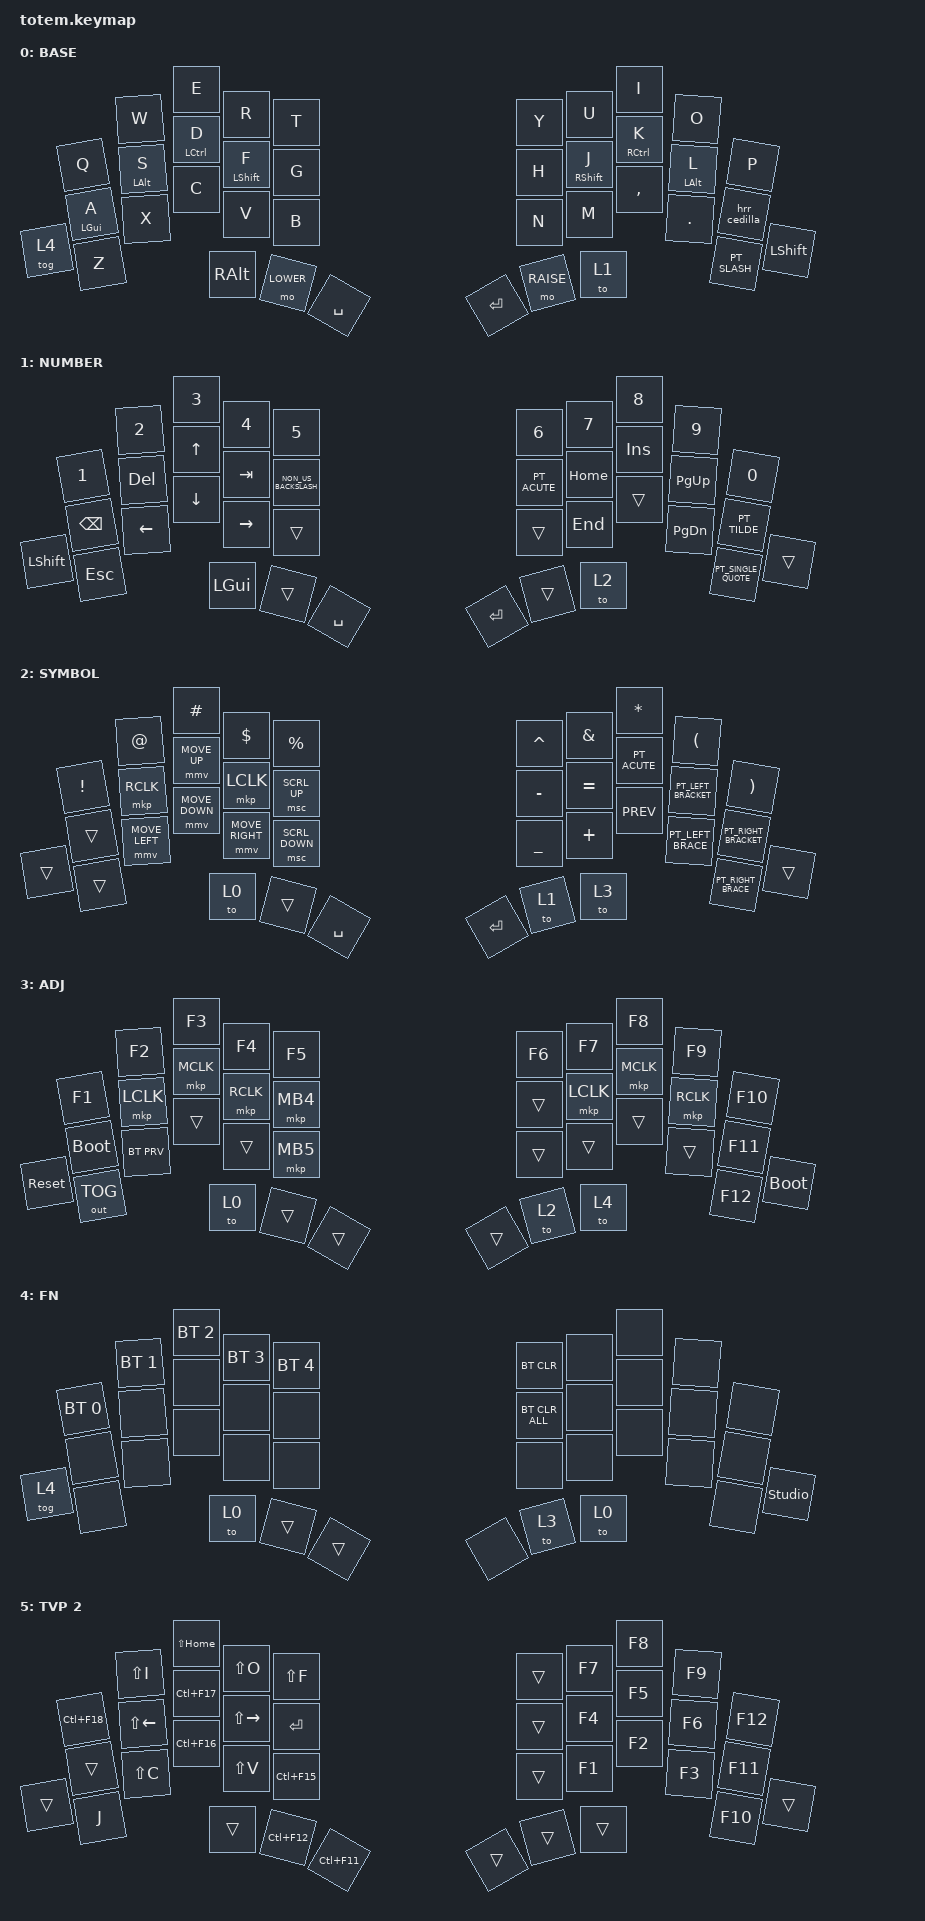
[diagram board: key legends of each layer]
//
//                                                        ▀▀▀▀▀     ▀▀▀▀▀          ▀▀█▀▀
//                                                        ▄▀▀▀▄  ▄  ▄▀▀▀▄  ▄  ▄▀▀▀▄  █  ▄▀▀▀▄
//                                                        █   █  █  █   █  █  █   █  █  █   █
//                                                         ▀▀▀   █   ▀▀▀   █   ▀▀▀   ▀   ▀▀▀
//                                                               █      ▄▄▄█▄▄▄    █   █  
//                                                               ▀      █  █  █     █▄█
//                                                             ▀▀▀▀▀    █  █  █      ▀
//                                                                      ▀  ▀  ▀
//
// ▄▄▄▄▄▄▄▄▄▄▄▄▄▄▄▄▄▄▄▄▄▄▄▄▄▄▄▄▄▄▄▄▄▄▄▄▄▄▄▄▄▄▄▄▄▄▄▄▄▄▄▄▄▄▄▄▄▄▄▄▄▄▄▄▄▄▄▄▄▄▄▄▄▄▄▄▄▄▄▄▄▄▄▄▄▄▄▄▄▄▄▄▄▄▄▄▄▄▄▄▄▄▄▄▄▄▄▄▄▄▄▄▄▄▄▄▄▄▄▄▄▄▄▄▄▄▄▄▄▄▄▄▄▄▄▄▄▄▄▄▄▄▄▄▄▄▄▄▄

#include <behaviors.dtsi>
#include <dt-bindings/zmk/bt.h>
#include <dt-bindings/zmk/keys.h>
#include <dt-bindings/zmk/outputs.h>
#include <dt-bindings/zmk/pointing.h>

/* Locale key codes extensions: https://github.com/joelspadin/zmk-locale-generator */

#ifndef KEYMAP_DRAWER

#include "keys_pt_abnt2.h"
#include "keys_us_international.h"

#endif

#define BASE    0
#define LOWER   1
#define RAISE   2
#define ADJ     3
#define TVP1    4
#define TVP2    5

&mt {
    quick-tap-ms = <100>;
    global-quick-tap;
    flavor = "tap-preferred";
    tapping-term-ms = <170>;
};

&mmv {
    trigger-period-ms = <16>;
    time-to-max-speed-ms = <500>;
    acceleration-exponent = <3>;
};

&msc {
    delay-ms = <0>;
    time-to-max-speed-ms = <450>;
    acceleration-exponent = <2>;
};

/ {
    combos {
        compatible = "zmk,combos";

        combo_esc {
            timeout-ms = <50>;
            key-positions = <0 1>;
            bindings = <&kp ESC>;
        };

        combo_tvp {
            timeout-ms = <100>;
            key-positions = <11 12 13>;
            bindings = <&tog TVP1>;
        };

        both_shifts_caps_lock {
            bindings = <&caps_word>;
            key-positions = <13 16>;
        };
    };

    behaviors {
        td0: td0 {
            compatible = "zmk,behavior-tap-dance";
            label = "TD0";
            #binding-cells = <0>;
            bindings = <&kp LEFT_SHIFT>, <&kp CAPS>;
        };

        HRL: HRL {
            compatible = "zmk,behavior-hold-tap";
            label = "Home Row Left";
            bindings = <&kp>, <&kp>;

            #binding-cells = <2>;
            tapping-term-ms = <200>;
            quick-tap-ms = <175>;
            require-prior-idle-ms = <125>;
            flavor = "balanced";
            hold-trigger-key-positions = <35 5 6 7 8 9 15 16 17 18 19 26 27 28 29 30 31 36 37>;
            hold-trigger-on-release;
        };

        HRR: HRR {
            compatible = "zmk,behavior-hold-tap";
            label = "Home Row Right";
            bindings = <&kp>, <&kp>;

            #binding-cells = <2>;
            tapping-term-ms = <200>;
            quick-tap-ms = <175>;
            require-prior-idle-ms = <125>;
            flavor = "balanced";
            hold-trigger-key-positions = <0 1 2 3 4 10 11 12 13 14 20 21 22 23 24 25 32 33 34>;
        };

        hrr_cedilla: hrr_cedilla {
            compatible = "zmk,behavior-tap-dance";
            label = ";/Ç|GUI";
            #binding-cells = <0>;
            bindings = <&HRR RIGHT_GUI PT_SEMICOLON>, <&kp PT_C_CEDILLA>;

            tapping-term-ms = <230>;
        };

        caps_word: caps_word {
            compatible = "zmk,behavior-caps-word";
            label = "CAPS_WORD";
            #binding-cells = <0>;
            continue-list = <UNDERSCORE MINUS BACKSPACE DELETE>;
            mods = <(MOD_LSFT)>;
        };
    };

    keymap {
        compatible = "zmk,keymap";

        // ▄▄▄▄▄▄▄▄▄▄▄▄▄▄▄▄▄▄▄▄▄▄▄▄▄▄▄▄▄▄▄▄▄▄▄▄▄▄▄▄▄▄▄▄▄▄▄▄▄▄▄▄▄▄▄▄▄▄▄▄▄▄▄▄▄▄▄▄▄▄▄▄▄▄▄▄▄▄▄▄▄▄▄▄▄▄▄▄▄▄▄▄▄▄▄▄▄▄▄▄▄▄▄▄▄▄▄▄▄▄▄▄▄▄▄▄▄▄▄▄▄▄▄▄▄▄▄▄▄▄▄▄▄▄▄▄▄▄▄▄▄▄▄▄▄▄▄▄▄

        base_layer {
            // ┏━━━━━━━━━━━━━━━━━━━━━━━━━━━━━━━━━━━━━━━┓

            label = "BASE";

            // ┗━━━━━━━━━━━━━━━━━━━━━━━━━━━━━━━━━━━━━━━┛
            //             ┏━━━━━━━━━━━┳━━━━━━━━━━━┳━━━━━━━━━━━┳━━━━━━━━━━━┳━━━━━━━━━━━┓   ┏━━━━━━━━━━━┳━━━━━━━━━━━┳━━━━━━━━━━━┳━━━━━━━━━━━┳━━━━━━━━━━━┓
            //             ┃     Q     ┃     W     ┃     F     ┃     P     ┃     G     ┃   ┃     J     ┃     L     ┃     U     ┃     Y     ┃     ;     ┃
            //             ┣━━━━━━━━━━━╋━━━━━━━━━━━╋━━━━━━━━━━━╋━━━━━━━━━━━╋━━━━━━━━━━━┫   ┣━━━━━━━━━━━╋━━━━━━━━━━━╋━━━━━━━━━━━╋━━━━━━━━━━━╋━━━━━━━━━━━┫
            //             ┃     A     ┃     R     ┃     S     ┃     T     ┃     D     ┃   ┃     H     ┃     N     ┃     E     ┃     I     ┃     O     ┃
            // ┏━━━━━━━━━━━╋━━━━━━━━━━━╋━━━━━━━━━━━╋━━━━━━━━━━━╋━━━━━━━━━━━╋━━━━━━━━━━━┫   ┣━━━━━━━━━━━╋━━━━━━━━━━━╋━━━━━━━━━━━╋━━━━━━━━━━━╋━━━━━━━━━━━╋━━━━━━━━━━━┓
            // ┃     Q     ┃     Z     ┃     X     ┃     C     ┃     V     ┃     B     ┃   ┃     K     ┃     M     ┃     ,     ┃     .     ┃     /     ┃     \     ┃
            // ┗━━━━━━━━━━━┻━━━━━━━━━━━┻━━━━━━━━━━━╋━━━━━━━━━━━╋━━━━━━━━━━━╋━━━━━━━━━━━┫   ┣━━━━━━━━━━━╋━━━━━━━━━━━╋━━━━━━━━━━━╋━━━━━━━━━━━┻━━━━━━━━━━━┻━━━━━━━━━━━┛
            //                                     ┃    DEL    ┃    TAB    ┃    SPC    ┃   ┃   ENTER   ┃           ┃   BSPC    ┃
            //                                     ┗━━━━━━━━━━━┻━━━━━━━━━━━┻━━━━━━━━━━━┛   ┗━━━━━━━━━━━┻━━━━━━━━━━━┻━━━━━━━━━━━┛

            bindings = <
        &kp Q            &kp W            &kp E          &kp R              &kp T        &kp Y      &kp U               &kp I         &kp O            &kp P
        &HRL LEFT_GUI A  &HRL LEFT_ALT S  &HRL LCTRL D   &HRL LEFT_SHIFT F  &kp G        &kp H      &HRR RIGHT_SHIFT J  &HRR RCTRL K  &HRR LEFT_ALT L  &hrr_cedilla
&tog 4  &kp Z            &kp X            &kp C          &kp V              &kp B        &kp N      &kp M               &kp COMMA     &kp DOT          &kp PT_SLASH  &kp LEFT_SHIFT
                                          &kp RIGHT_ALT  &mo LOWER          &kp SPACE    &kp ENTER  &mo RAISE           &to 1
            >;
        };

        // ▄▄▄▄▄▄▄▄▄▄▄▄▄▄▄▄▄▄▄▄▄▄▄▄▄▄▄▄▄▄▄▄▄▄▄▄▄▄▄▄▄▄▄▄▄▄▄▄▄▄▄▄▄▄▄▄▄▄▄▄▄▄▄▄▄▄▄▄▄▄▄▄▄▄▄▄▄▄▄▄▄▄▄▄▄▄▄▄▄▄▄▄▄▄▄▄▄▄▄▄▄▄▄▄▄▄▄▄▄▄▄▄▄▄▄▄▄▄▄▄▄▄▄▄▄▄▄▄▄▄▄▄▄▄▄▄▄▄▄▄▄▄▄▄▄▄▄▄▄

        lower_layer {
            // ┏━━━━━━━━━━━━━━━━━━━━━━━━━━━━━━━━━━━━━━━┓

            label = "NUMBER";

            // ┗━━━━━━━━━━━━━━━━━━━━━━━━━━━━━━━━━━━━━━━┛
            //             ┏━━━━━━━━━━━┳━━━━━━━━━━━┳━━━━━━━━━━━┳━━━━━━━━━━━┳━━━━━━━━━━━┓   ┏━━━━━━━━━━━┳━━━━━━━━━━━┳━━━━━━━━━━━┳━━━━━━━━━━━┳━━━━━━━━━━━┓
            //             ┃           ┃           ┃     UP    ┃           ┃     {     ┃   ┃     }     ┃     7     ┃     8     ┃     9     ┃     +     ┃
            //             ┣━━━━━━━━━━━╋━━━━━━━━━━━╋━━━━━━━━━━━╋━━━━━━━━━━━╋━━━━━━━━━━━┫   ┣━━━━━━━━━━━╋━━━━━━━━━━━╋━━━━━━━━━━━╋━━━━━━━━━━━╋━━━━━━━━━━━┫
            //             ┃   SHIFT   ┃   LEFT    ┃    DOWN   ┃   RIGHT   ┃     [     ┃   ┃     ]     ┃     4     ┃     5     ┃     6     ┃     -     ┃
            // ┏━━━━━━━━━━━╋━━━━━━━━━━━╋━━━━━━━━━━━╋━━━━━━━━━━━╋━━━━━━━━━━━╋━━━━━━━━━━━┫   ┣━━━━━━━━━━━╋━━━━━━━━━━━╋━━━━━━━━━━━╋━━━━━━━━━━━╋━━━━━━━━━━━╋━━━━━━━━━━━┓
            // ┃           ┃           ┃   P UP    ┃  C LOCK   ┃  P DOWN   ┃     (     ┃   ┃     )     ┃     1     ┃     2     ┃     3     ┃     *     ┃           ┃
            // ┗━━━━━━━━━━━┻━━━━━━━━━━━┻━━━━━━━━━━━╋━━━━━━━━━━━╋━━━━━━━━━━━╋━━━━━━━━━━━┫   ┣━━━━━━━━━━━╋━━━━━━━━━━━╋━━━━━━━━━━━╋━━━━━━━━━━━┻━━━━━━━━━━━┻━━━━━━━━━━━┛
            //                                     ┃           ┃    TAB    ┃    SPC    ┃   ┃    DEL    ┃     0     ┃           ┃
            //                                     ┗━━━━━━━━━━━┻━━━━━━━━━━━┻━━━━━━━━━━━┛   ┗━━━━━━━━━━━┻━━━━━━━━━━━┻━━━━━━━━━━━┛

            bindings = <
                &kp NUMBER_1   &kp NUMBER_2    &kp N3        &kp N4           &kp N5                  &kp N6        &kp N7    &kp N8   &kp N9         &kp N0
                &kp BACKSPACE  &kp DELETE      &kp UP_ARROW  &kp TAB          &kp NON_US_BACKSLASH    &kp PT_ACUTE  &kp HOME  &kp INS  &kp PAGE_UP    &kp PT_TILDE
&kp LEFT_SHIFT  &kp ESCAPE     &kp LEFT_ARROW  &kp DOWN      &kp RIGHT_ARROW  &trans                  &trans        &kp END   &trans   &kp PAGE_DOWN  &kp PT_SINGLE_QUOTE  &trans
                                               &kp LEFT_GUI  &trans           &kp SPACE               &kp ENTER     &trans    &to 2
            >;
        };

        // ▄▄▄▄▄▄▄▄▄▄▄▄▄▄▄▄▄▄▄▄▄▄▄▄▄▄▄▄▄▄▄▄▄▄▄▄▄▄▄▄▄▄▄▄▄▄▄▄▄▄▄▄▄▄▄▄▄▄▄▄▄▄▄▄▄▄▄▄▄▄▄▄▄▄▄▄▄▄▄▄▄▄▄▄▄▄▄▄▄▄▄▄▄▄▄▄▄▄▄▄▄▄▄▄▄▄▄▄▄▄▄▄▄▄▄▄▄▄▄▄▄▄▄▄▄▄▄▄▄▄▄▄▄▄▄▄▄▄▄▄▄▄▄▄▄▄▄▄▄

        raise_layer {
            // ┏━━━━━━━━━━━━━━━━━━━━━━━━━━━━━━━━━━━━━━━┓

            label = "SYMBOL";

            // ┗━━━━━━━━━━━━━━━━━━━━━━━━━━━━━━━━━━━━━━━┛
            //             ┏━━━━━━━━━━━┳━━━━━━━━━━━┳━━━━━━━━━━━┳━━━━━━━━━━━┳━━━━━━━━━━━┓   ┏━━━━━━━━━━━┳━━━━━━━━━━━┳━━━━━━━━━━━┳━━━━━━━━━━━┳━━━━━━━━━━━┓
            //             ┃     !     ┃     @     ┃     #     ┃     $     ┃     %     ┃   ┃     ˆ     ┃     &     ┃     Ü     ┃     '     ┃     "     ┃
            //             ┣━━━━━━━━━━━╋━━━━━━━━━━━╋━━━━━━━━━━━╋━━━━━━━━━━━╋━━━━━━━━━━━┫   ┣━━━━━━━━━━━╋━━━━━━━━━━━╋━━━━━━━━━━━╋━━━━━━━━━━━╋━━━━━━━━━━━┫
            //             ┃     Ä     ┃           ┃    SZ     ┃           ┃           ┃   ┃   MUTE    ┃   YEN     ┃   EURO    ┃  POUND    ┃     Ö     ┃
            // ┏━━━━━━━━━━━╋━━━━━━━━━━━╋━━━━━━━━━━━╋━━━━━━━━━━━╋━━━━━━━━━━━╋━━━━━━━━━━━┫   ┣━━━━━━━━━━━╋━━━━━━━━━━━╋━━━━━━━━━━━╋━━━━━━━━━━━╋━━━━━━━━━━━╋━━━━━━━━━━━┓
            // ┃           ┃  EMAIL1   ┃  EMAIL2   ┃           ┃           ┃           ┃   ┃   VOL-    ┃   VOL+    ┃   LAST    ┃   NEXT    ┃     \     ┃           ┃
            // ┗━━━━━━━━━━━┻━━━━━━━━━━━┻━━━━━━━━━━━╋━━━━━━━━━━━╋━━━━━━━━━━━╋━━━━━━━━━━━┫   ┣━━━━━━━━━━━╋━━━━━━━━━━━╋━━━━━━━━━━━╋━━━━━━━━━━━┻━━━━━━━━━━━┻━━━━━━━━━━━┛
            //                                     ┃           ┃    GIF    ┃    ADJ    ┃   ┃           ┃           ┃           ┃
            //                                     ┗━━━━━━━━━━━┻━━━━━━━━━━━┻━━━━━━━━━━━┛   ┗━━━━━━━━━━━┻━━━━━━━━━━━┻━━━━━━━━━━━┛

            bindings = <
        &kp EXCL  &kp AT          &kp HASH        &kp DLLR         &kp PRCNT         &kp CARET  &kp AMPS   &kp ASTRK     &kp LPAR             &kp RPAR
        &trans    &mkp RCLK       &mmv MOVE_UP    &mkp LCLK        &msc SCRL_UP      &kp MINUS  &kp EQUAL  &kp PT_ACUTE  &kp PT_LEFT_BRACKET  &kp PT_RIGHT_BRACKET
&trans  &trans    &mmv MOVE_LEFT  &mmv MOVE_DOWN  &mmv MOVE_RIGHT  &msc SCRL_DOWN    &kp UNDER  &kp PLUS   &kp C_PREV    &kp PT_LEFT_BRACE    &kp PT_RIGHT_BRACE    &trans
                                  &to 0           &trans           &kp SPACE         &kp ENTER  &to 1      &to 3
            >;
        };

        // ▄▄▄▄▄▄▄▄▄▄▄▄▄▄▄▄▄▄▄▄▄▄▄▄▄▄▄▄▄▄▄▄▄▄▄▄▄▄▄▄▄▄▄▄▄▄▄▄▄▄▄▄▄▄▄▄▄▄▄▄▄▄▄▄▄▄▄▄▄▄▄▄▄▄▄▄▄▄▄▄▄▄▄▄▄▄▄▄▄▄▄▄▄▄▄▄▄▄▄▄▄▄▄▄▄▄▄▄▄▄▄▄▄▄▄▄▄▄▄▄▄▄▄▄▄▄▄▄▄▄▄▄▄▄▄▄▄▄▄▄▄▄▄▄▄▄▄▄▄

        adjust_layer {
            // ┏━━━━━━━━━━━━━━━━━━━━━━━━━━━━━━━━━━━━━━━┓

            label = "ADJ";

            // ┗━━━━━━━━━━━━━━━━━━━━━━━━━━━━━━━━━━━━━━━┛
            //             ┏━━━━━━━━━━━┳━━━━━━━━━━━┳━━━━━━━━━━━┳━━━━━━━━━━━┳━━━━━━━━━━━┓   ┏━━━━━━━━━━━┳━━━━━━━━━━━┳━━━━━━━━━━━┳━━━━━━━━━━━┳━━━━━━━━━━━┓
            //             ┃   RESET   ┃ BT CLEAR  ┃  OUT TOG  ┃           ┃           ┃   ┃           ┃    F7     ┃    F8     ┃    F9     ┃    F12    ┃
            //             ┣━━━━━━━━━━━╋━━━━━━━━━━━╋━━━━━━━━━━━╋━━━━━━━━━━━╋━━━━━━━━━━━┫   ┣━━━━━━━━━━━╋━━━━━━━━━━━╋━━━━━━━━━━━╋━━━━━━━━━━━╋━━━━━━━━━━━┫
            //             ┃ BOOTLOAD  ┃ BT NEXT   ┃           ┃           ┃           ┃   ┃           ┃    F4     ┃    F5     ┃    F6     ┃    F11    ┃
            // ┏━━━━━━━━━━━╋━━━━━━━━━━━╋━━━━━━━━━━━╋━━━━━━━━━━━╋━━━━━━━━━━━╋━━━━━━━━━━━┫   ┣━━━━━━━━━━━╋━━━━━━━━━━━╋━━━━━━━━━━━╋━━━━━━━━━━━╋━━━━━━━━━━━╋━━━━━━━━━━━┓
            // ┃           ┃           ┃ BT PREV   ┃           ┃           ┃           ┃   ┃           ┃    F1     ┃    F2     ┃    F3     ┃    F10    ┃           ┃
            // ┗━━━━━━━━━━━┻━━━━━━━━━━━┻━━━━━━━━━━━╋━━━━━━━━━━━╋━━━━━━━━━━━╋━━━━━━━━━━━┫   ┣━━━━━━━━━━━╋━━━━━━━━━━━╋━━━━━━━━━━━╋━━━━━━━━━━━┻━━━━━━━━━━━┻━━━━━━━━━━━┛
            //                                     ┃           ┃           ┃           ┃   ┃           ┃           ┃           ┃
            //                                     ┗━━━━━━━━━━━┻━━━━━━━━━━━┻━━━━━━━━━━━┛   ┗━━━━━━━━━━━┻━━━━━━━━━━━┻━━━━━━━━━━━┛

            bindings = <
            &kp F1        &kp F2      &kp F3     &kp F4     &kp F5      &kp F6  &kp F7     &kp F8     &kp F9     &kp F10
            &bootloader   &mkp LCLK   &mkp MCLK  &mkp RCLK  &mkp MB4    &trans  &mkp LCLK  &mkp MCLK  &mkp RCLK  &kp F11
&sys_reset  &out OUT_TOG  &bt BT_PRV  &trans     &trans     &mkp MB5    &trans  &trans     &trans     &trans     &kp F12  &bootloader
                                      &to 0      &trans     &trans      &trans  &to 2      &to 4
            >;
        };

        // ▄▄▄▄▄▄▄▄▄▄▄▄▄▄▄▄▄▄▄▄▄▄▄▄▄▄▄▄▄▄▄▄▄▄▄▄▄▄▄▄▄▄▄▄▄▄▄▄▄▄▄▄▄▄▄▄▄▄▄▄▄▄▄▄▄▄▄▄▄▄▄▄▄▄▄▄▄▄▄▄▄▄▄▄▄▄▄▄▄▄▄▄▄▄▄▄▄▄▄▄▄▄▄▄▄▄▄▄▄▄▄▄▄▄▄▄▄▄▄▄▄▄▄▄▄▄▄▄▄▄▄▄▄▄▄▄▄▄▄▄▄▄▄▄▄▄▄▄▄

        function_layer {
            // ┏━━━━━━━━━━━━━━━━━━━━━━━━━━━━━━━━━━━━━━━┓

            label = "FN";

            // ┗━━━━━━━━━━━━━━━━━━━━━━━━━━━━━━━━━━━━━━━┛
            //             ┏━━━━━━━━━━━┳━━━━━━━━━━━┳━━━━━━━━━━━┳━━━━━━━━━━━┳━━━━━━━━━━━┓   ┏━━━━━━━━━━━┳━━━━━━━━━━━┳━━━━━━━━━━━┳━━━━━━━━━━━┳━━━━━━━━━━━┓
            //             ┃ NEXT FILE ┃ MARK IN   ┃ ROTATE    ┃ MARK OUT  ┃ SHOW SNAP ┃   ┃           ┃           ┃           ┃           ┃           ┃
            //             ┣━━━━━━━━━━━╋━━━━━━━━━━━╋━━━━━━━━━━━╋━━━━━━━━━━━╋━━━━━━━━━━━┫   ┣━━━━━━━━━━━╋━━━━━━━━━━━╋━━━━━━━━━━━╋━━━━━━━━━━━╋━━━━━━━━━━━┫
            //             ┃ TVP II    ┃ LEFT      ┃ PAN       ┃ RIGHT     ┃ PLAY/FLIP ┃   ┃           ┃           ┃           ┃           ┃           ┃
            // ┏━━━━━━━━━━━╋━━━━━━━━━━━╋━━━━━━━━━━━╋━━━━━━━━━━━╋━━━━━━━━━━━╋━━━━━━━━━━━┫   ┣━━━━━━━━━━━╋━━━━━━━━━━━╋━━━━━━━━━━━╋━━━━━━━━━━━╋━━━━━━━━━━━╋━━━━━━━━━━━┓
            // ┃ FULLSCR   ┃ SHIFT     ┃ COPY      ┃ DELETE    ┃ PASTE     ┃ IMG MARK  ┃   ┃           ┃           ┃           ┃           ┃           ┃           ┃
            // ┗━━━━━━━━━━━┻━━━━━━━━━━━┻━━━━━━━━━━━╋━━━━━━━━━━━╋━━━━━━━━━━━╋━━━━━━━━━━━┫   ┣━━━━━━━━━━━╋━━━━━━━━━━━╋━━━━━━━━━━━╋━━━━━━━━━━━┻━━━━━━━━━━━┻━━━━━━━━━━━┛
            //                                     ┃           ┃ UNDO/SAVE ┃  SEL/MOV  ┃   ┃           ┃           ┃           ┃
            //                                     ┗━━━━━━━━━━━┻━━━━━━━━━━━┻━━━━━━━━━━━┛   ┗━━━━━━━━━━━┻━━━━━━━━━━━┻━━━━━━━━━━━┛

            bindings = <
        &bt BT_SEL 0  &bt BT_SEL 1  &bt BT_SEL 2  &bt BT_SEL 3  &bt BT_SEL 4    &bt BT_CLR      &none  &none  &none  &none
        &none         &none         &none         &none         &none           &bt BT_CLR_ALL  &none  &none  &none  &none
&tog 4  &none         &none         &none         &none         &none           &none           &none  &none  &none  &none  &studio_unlock
                                    &to 0         &trans        &trans          &none           &to 3  &to 0
            >;
        };

        // ▄▄▄▄▄▄▄▄▄▄▄▄▄▄▄▄▄▄▄▄▄▄▄▄▄▄▄▄▄▄▄▄▄▄▄▄▄▄▄▄▄▄▄▄▄▄▄▄▄▄▄▄▄▄▄▄▄▄▄▄▄▄▄▄▄▄▄▄▄▄▄▄▄▄▄▄▄▄▄▄▄▄▄▄▄▄▄▄▄▄▄▄▄▄▄▄▄▄▄▄▄▄▄▄▄▄▄▄▄▄▄▄▄▄▄▄▄▄▄▄▄▄▄▄▄▄▄▄▄▄▄▄▄▄▄▄▄▄▄▄▄▄▄▄▄▄▄▄▄

        tvp2_layer {
            // ┏━━━━━━━━━━━━━━━━━━━━━━━━━━━━━━━━━━━━━━━┓

            label = "TVP 2";

            // ┗━━━━━━━━━━━━━━━━━━━━━━━━━━━━━━━━━━━━━━━┛
            //             ┏━━━━━━━━━━━┳━━━━━━━━━━━┳━━━━━━━━━━━┳━━━━━━━━━━━┳━━━━━━━━━━━┓   ┏━━━━━━━━━━━┳━━━━━━━━━━━┳━━━━━━━━━━━┳━━━━━━━━━━━┳━━━━━━━━━━━┓
            //             ┃ SOLO      ┃ TOGGLE IN ┃ RESET ROT ┃ TOGGLE OUT┃ TAKE SNAP ┃   ┃           ┃           ┃           ┃           ┃           ┃
            //             ┣━━━━━━━━━━━╋━━━━━━━━━━━╋━━━━━━━━━━━╋━━━━━━━━━━━╋━━━━━━━━━━━┫   ┣━━━━━━━━━━━╋━━━━━━━━━━━╋━━━━━━━━━━━╋━━━━━━━━━━━╋━━━━━━━━━━━┫
            //             ┃ ---       ┃ LAST KEY  ┃ NEW KEY   ┃ NEXT KEY  ┃ ENTER     ┃   ┃           ┃           ┃           ┃           ┃           ┃
            // ┏━━━━━━━━━━━╋━━━━━━━━━━━╋━━━━━━━━━━━╋━━━━━━━━━━━╋━━━━━━━━━━━╋━━━━━━━━━━━┫   ┣━━━━━━━━━━━╋━━━━━━━━━━━╋━━━━━━━━━━━╋━━━━━━━━━━━╋━━━━━━━━━━━╋━━━━━━━━━━━┓
            // ┃           ┃ FULLSCR   ┃ CPY2BRUSH ┃ DEL HEAD  ┃ PSTinPLACE┃ BOOK MARK ┃   ┃           ┃           ┃           ┃           ┃           ┃           ┃
            // ┗━━━━━━━━━━━┻━━━━━━━━━━━┻━━━━━━━━━━━╋━━━━━━━━━━━╋━━━━━━━━━━━╋━━━━━━━━━━━┫   ┣━━━━━━━━━━━╋━━━━━━━━━━━╋━━━━━━━━━━━╋━━━━━━━━━━━┻━━━━━━━━━━━┻━━━━━━━━━━━┛
            //                                     ┃           ┃ REDO/SAV1 ┃TRANS/WARP ┃   ┃           ┃           ┃           ┃
            //                                     ┗━━━━━━━━━━━┻━━━━━━━━━━━┻━━━━━━━━━━━┛   ┗━━━━━━━━━━━┻━━━━━━━━━━━┻━━━━━━━━━━━┛

            bindings = <
        &kp LC(F18)  &kp LS(I)     &kp LS(HOME)  &kp LS(O)      &kp LS(F)      &trans  &kp F7  &kp F8  &kp F9  &kp F12
        &trans       &kp LS(LEFT)  &kp LC(F17)   &kp LS(RIGHT)  &kp RET        &trans  &kp F4  &kp F5  &kp F6  &kp F11
&trans  &kp J        &kp LS(C)     &kp LC(F16)   &kp LS(V)      &kp LC(F15)    &trans  &kp F1  &kp F2  &kp F3  &kp F10  &trans
                                   &trans        &kp LC(F12)    &kp LC(F11)    &trans  &trans  &trans
            >;
        };
    };

    conditional_layers {
        compatible = "zmk,conditional-layers";

        TRI_LAYER {
            if-layers = <1 2>;
            then-layer = <3>;
        };
    };
};
